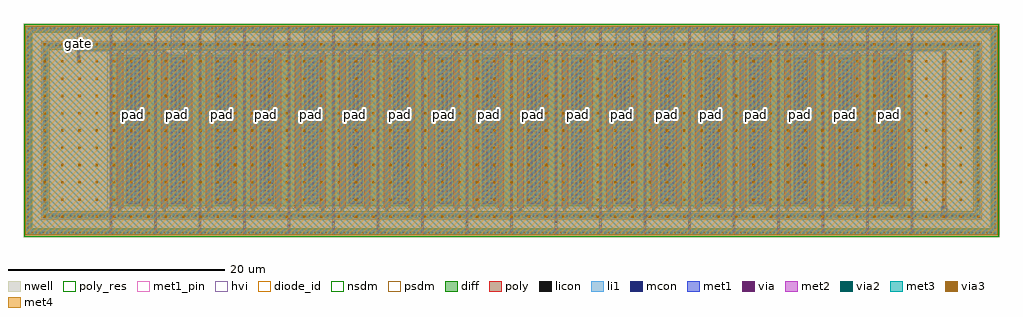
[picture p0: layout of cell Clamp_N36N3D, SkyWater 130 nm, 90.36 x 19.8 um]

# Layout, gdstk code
import gdstk
lib = gdstk.Library(unit=1e-6, precision=1e-09)
def R(c, l, rs):  # rectangles x0, y0, x1, y1
    for r in rs: c.add(gdstk.rectangle(r[:2], r[2:], *l))
def A(c, l, x, y, w, h, nx, ny, dx, dy):  # array of equal rectangles
    R(c, l, [(x+i*dx, y+j*dy, x+i*dx+w, y+j*dy+h) for i in range(nx) for j in range(ny)])
def P(c, l, *ps):  # polygons
    for p in ps: c.add(gdstk.Polygon(p, *l))
nwell = (64, 20)
diff = (65, 20)
poly_res = (66, 13)
poly = (66, 20)
licon = (66, 44)
li1 = (67, 20)
mcon = (67, 44)
met1_pin = (68, 16)
met1 = (68, 20)
via = (68, 44)
met2 = (69, 20)
via2 = (69, 44)
met3 = (70, 20)
via3 = (70, 44)
met4 = (71, 20)
hvi = (75, 20)
diode_id = (81, 23)
nsdm = (93, 44)
psdm = (94, 20)

guardring_n18000w3888hff = lib.new_cell('GuardRing_N18000W3888HFF')
P(guardring_n18000w3888hff, nwell, [(-45.18,-9.9),(-45.18,9.06),(-44.34,9.06),(-44.34,-9.06),(44.34,-9.06),(44.34,9.06),(-45.18,9.06),(-45.18,9.9),(45.18,9.9),(45.18,-9.9)])
P(guardring_n18000w3888hff, diff, [(-45,-9.72),(-45,9.24),(-44.52,9.24),(-44.52,-9.24),(44.52,-9.24),(44.52,9.24),(-45,9.24),(-45,9.72),(45,9.72),(45,-9.72)])
A(guardring_n18000w3888hff, licon, -44.795, -9.565, 0.17, 0.17, 264, 2, 0.34, 18.96)
A(guardring_n18000w3888hff, licon, -44.845, -9.095, 0.17, 0.17, 1, 54, 0, 0.34)
A(guardring_n18000w3888hff, licon, 44.675, -9.095, 0.17, 0.17, 1, 54, 0, 0.34)
P(guardring_n18000w3888hff, li1, [(-45,-9.72),(-45,9.24),(-44.52,9.24),(-44.52,-9.24),(44.52,-9.24),(44.52,9.24),(-45,9.24),(-45,9.72),(45,9.72),(45,-9.72)])
P(guardring_n18000w3888hff, nsdm, [(-45.125,-9.845),(-45.125,9.115),(-44.395,9.115),(-44.395,-9.115),(44.395,-9.115),(44.395,9.115),(-45.125,9.115),(-45.125,9.845),(45.125,9.845),(45.125,-9.845)])

guardring_p17368w3256hft = lib.new_cell('GuardRing_P17368W3256HFT')
P(guardring_p17368w3256hft, diff, [(-43.42,-8.14),(-43.42,7.66),(-42.94,7.66),(-42.94,-7.66),(42.94,-7.66),(42.94,7.66),(-43.42,7.66),(-43.42,8.14),(43.42,8.14),(43.42,-8.14)])
A(guardring_p17368w3256hft, licon, -43.265, -7.985, 0.17, 0.17, 255, 2, 0.34, 15.8)
A(guardring_p17368w3256hft, licon, -43.265, -7.395, 0.17, 0.17, 1, 44, 0, 0.34)
A(guardring_p17368w3256hft, licon, 43.095, -7.395, 0.17, 0.17, 1, 44, 0, 0.34)
P(guardring_p17368w3256hft, li1, [(-43.42,-8.14),(-43.42,7.66),(-42.94,7.66),(-42.94,-7.66),(42.94,-7.66),(42.94,7.66),(-43.42,7.66),(-43.42,8.14),(43.42,8.14),(43.42,-8.14)])
R(guardring_p17368w3256hft, nsdm, [(-42.815,-7.535,42.815,7.535)])
P(guardring_p17368w3256hft, psdm, [(-43.545,-8.265),(-43.545,7.535),(-42.815,7.535),(-42.815,-7.535),(42.815,-7.535),(42.815,7.535),(-43.545,7.535),(-43.545,8.265),(43.545,8.265),(43.545,-8.265)])

iotracksegment_3888h = lib.new_cell('IOTrackSegment_3888H')
R(iotracksegment_3888h, met2, [(-45,-9.72,45,9.72)])
A(iotracksegment_3888h, via2, -43.3, -8.1, 0.2, 0.2, 55, 11, 1.6, 1.6)
R(iotracksegment_3888h, met3, [(-45,-9.72,45,9.72)])
A(iotracksegment_3888h, via3, -43.3, -8.1, 0.2, 0.2, 55, 11, 1.6, 1.6)
R(iotracksegment_3888h, met4, [(-45,-9.72,45,9.72)])

clamp_n36n3d = lib.new_cell('Clamp_N36N3D')
R(clamp_n36n3d, diff, [(7.795,2.72,82.205,16.72), (4.805,15.97,5.055,16.72)])
R(clamp_n36n3d, poly_res, [(84.9,2.72,85.24,16.72)])
R(clamp_n36n3d, poly, [(84.905,2.425,85.235,17.015)])
P(clamp_n36n3d, poly, [(8.61,2.23),(8.61,2.56),(8.445,2.56),(8.445,16.88),(8.61,16.88),(8.61,17.21),(8.88,17.21),(8.88,16.88),(9.045,16.88),(9.045,2.56),(8.88,2.56),(8.88,2.23)],
  [(10.91,2.23),(10.91,2.56),(10.745,2.56),(10.745,16.88),(10.91,16.88),(10.91,17.21),(11.18,17.21),(11.18,16.88),(11.345,16.88),(11.345,2.56),(11.18,2.56),(11.18,2.23)],
  [(12.73,2.23),(12.73,2.56),(12.565,2.56),(12.565,16.88),(12.73,16.88),(12.73,17.21),(13,17.21),(13,16.88),(13.165,16.88),(13.165,2.56),(13,2.56),(13,2.23)],
  [(15.03,2.23),(15.03,2.56),(14.865,2.56),(14.865,16.88),(15.03,16.88),(15.03,17.21),(15.3,17.21),(15.3,16.88),(15.465,16.88),(15.465,2.56),(15.3,2.56),(15.3,2.23)],
  [(16.85,2.23),(16.85,2.56),(16.685,2.56),(16.685,16.88),(16.85,16.88),(16.85,17.21),(17.12,17.21),(17.12,16.88),(17.285,16.88),(17.285,2.56),(17.12,2.56),(17.12,2.23)],
  [(19.15,2.23),(19.15,2.56),(18.985,2.56),(18.985,16.88),(19.15,16.88),(19.15,17.21),(19.42,17.21),(19.42,16.88),(19.585,16.88),(19.585,2.56),(19.42,2.56),(19.42,2.23)],
  [(20.97,2.23),(20.97,2.56),(20.805,2.56),(20.805,16.88),(20.97,16.88),(20.97,17.21),(21.24,17.21),(21.24,16.88),(21.405,16.88),(21.405,2.56),(21.24,2.56),(21.24,2.23)],
  [(23.27,2.23),(23.27,2.56),(23.105,2.56),(23.105,16.88),(23.27,16.88),(23.27,17.21),(23.54,17.21),(23.54,16.88),(23.705,16.88),(23.705,2.56),(23.54,2.56),(23.54,2.23)],
  [(25.09,2.23),(25.09,2.56),(24.925,2.56),(24.925,16.88),(25.09,16.88),(25.09,17.21),(25.36,17.21),(25.36,16.88),(25.525,16.88),(25.525,2.56),(25.36,2.56),(25.36,2.23)],
  [(27.39,2.23),(27.39,2.56),(27.225,2.56),(27.225,16.88),(27.39,16.88),(27.39,17.21),(27.66,17.21),(27.66,16.88),(27.825,16.88),(27.825,2.56),(27.66,2.56),(27.66,2.23)],
  [(29.21,2.23),(29.21,2.56),(29.045,2.56),(29.045,16.88),(29.21,16.88),(29.21,17.21),(29.48,17.21),(29.48,16.88),(29.645,16.88),(29.645,2.56),(29.48,2.56),(29.48,2.23)],
  [(31.51,2.23),(31.51,2.56),(31.345,2.56),(31.345,16.88),(31.51,16.88),(31.51,17.21),(31.78,17.21),(31.78,16.88),(31.945,16.88),(31.945,2.56),(31.78,2.56),(31.78,2.23)],
  [(33.33,2.23),(33.33,2.56),(33.165,2.56),(33.165,16.88),(33.33,16.88),(33.33,17.21),(33.6,17.21),(33.6,16.88),(33.765,16.88),(33.765,2.56),(33.6,2.56),(33.6,2.23)],
  [(35.63,2.23),(35.63,2.56),(35.465,2.56),(35.465,16.88),(35.63,16.88),(35.63,17.21),(35.9,17.21),(35.9,16.88),(36.065,16.88),(36.065,2.56),(35.9,2.56),(35.9,2.23)],
  [(37.45,2.23),(37.45,2.56),(37.285,2.56),(37.285,16.88),(37.45,16.88),(37.45,17.21),(37.72,17.21),(37.72,16.88),(37.885,16.88),(37.885,2.56),(37.72,2.56),(37.72,2.23)],
  [(39.75,2.23),(39.75,2.56),(39.585,2.56),(39.585,16.88),(39.75,16.88),(39.75,17.21),(40.02,17.21),(40.02,16.88),(40.185,16.88),(40.185,2.56),(40.02,2.56),(40.02,2.23)],
  [(41.57,2.23),(41.57,2.56),(41.405,2.56),(41.405,16.88),(41.57,16.88),(41.57,17.21),(41.84,17.21),(41.84,16.88),(42.005,16.88),(42.005,2.56),(41.84,2.56),(41.84,2.23)],
  [(43.87,2.23),(43.87,2.56),(43.705,2.56),(43.705,16.88),(43.87,16.88),(43.87,17.21),(44.14,17.21),(44.14,16.88),(44.305,16.88),(44.305,2.56),(44.14,2.56),(44.14,2.23)],
  [(45.69,2.23),(45.69,2.56),(45.525,2.56),(45.525,16.88),(45.69,16.88),(45.69,17.21),(45.96,17.21),(45.96,16.88),(46.125,16.88),(46.125,2.56),(45.96,2.56),(45.96,2.23)],
  [(47.99,2.23),(47.99,2.56),(47.825,2.56),(47.825,16.88),(47.99,16.88),(47.99,17.21),(48.26,17.21),(48.26,16.88),(48.425,16.88),(48.425,2.56),(48.26,2.56),(48.26,2.23)],
  [(49.81,2.23),(49.81,2.56),(49.645,2.56),(49.645,16.88),(49.81,16.88),(49.81,17.21),(50.08,17.21),(50.08,16.88),(50.245,16.88),(50.245,2.56),(50.08,2.56),(50.08,2.23)],
  [(52.11,2.23),(52.11,2.56),(51.945,2.56),(51.945,16.88),(52.11,16.88),(52.11,17.21),(52.38,17.21),(52.38,16.88),(52.545,16.88),(52.545,2.56),(52.38,2.56),(52.38,2.23)],
  [(53.93,2.23),(53.93,2.56),(53.765,2.56),(53.765,16.88),(53.93,16.88),(53.93,17.21),(54.2,17.21),(54.2,16.88),(54.365,16.88),(54.365,2.56),(54.2,2.56),(54.2,2.23)],
  [(56.23,2.23),(56.23,2.56),(56.065,2.56),(56.065,16.88),(56.23,16.88),(56.23,17.21),(56.5,17.21),(56.5,16.88),(56.665,16.88),(56.665,2.56),(56.5,2.56),(56.5,2.23)],
  [(58.05,2.23),(58.05,2.56),(57.885,2.56),(57.885,16.88),(58.05,16.88),(58.05,17.21),(58.32,17.21),(58.32,16.88),(58.485,16.88),(58.485,2.56),(58.32,2.56),(58.32,2.23)],
  [(60.35,2.23),(60.35,2.56),(60.185,2.56),(60.185,16.88),(60.35,16.88),(60.35,17.21),(60.62,17.21),(60.62,16.88),(60.785,16.88),(60.785,2.56),(60.62,2.56),(60.62,2.23)],
  [(62.17,2.23),(62.17,2.56),(62.005,2.56),(62.005,16.88),(62.17,16.88),(62.17,17.21),(62.44,17.21),(62.44,16.88),(62.605,16.88),(62.605,2.56),(62.44,2.56),(62.44,2.23)],
  [(64.47,2.23),(64.47,2.56),(64.305,2.56),(64.305,16.88),(64.47,16.88),(64.47,17.21),(64.74,17.21),(64.74,16.88),(64.905,16.88),(64.905,2.56),(64.74,2.56),(64.74,2.23)],
  [(66.29,2.23),(66.29,2.56),(66.125,2.56),(66.125,16.88),(66.29,16.88),(66.29,17.21),(66.56,17.21),(66.56,16.88),(66.725,16.88),(66.725,2.56),(66.56,2.56),(66.56,2.23)],
  [(68.59,2.23),(68.59,2.56),(68.425,2.56),(68.425,16.88),(68.59,16.88),(68.59,17.21),(68.86,17.21),(68.86,16.88),(69.025,16.88),(69.025,2.56),(68.86,2.56),(68.86,2.23)],
  [(70.41,2.23),(70.41,2.56),(70.245,2.56),(70.245,16.88),(70.41,16.88),(70.41,17.21),(70.68,17.21),(70.68,16.88),(70.845,16.88),(70.845,2.56),(70.68,2.56),(70.68,2.23)],
  [(72.71,2.23),(72.71,2.56),(72.545,2.56),(72.545,16.88),(72.71,16.88),(72.71,17.21),(72.98,17.21),(72.98,16.88),(73.145,16.88),(73.145,2.56),(72.98,2.56),(72.98,2.23)],
  [(74.53,2.23),(74.53,2.56),(74.365,2.56),(74.365,16.88),(74.53,16.88),(74.53,17.21),(74.8,17.21),(74.8,16.88),(74.965,16.88),(74.965,2.56),(74.8,2.56),(74.8,2.23)],
  [(76.83,2.23),(76.83,2.56),(76.665,2.56),(76.665,16.88),(76.83,16.88),(76.83,17.21),(77.1,17.21),(77.1,16.88),(77.265,16.88),(77.265,2.56),(77.1,2.56),(77.1,2.23)],
  [(78.65,2.23),(78.65,2.56),(78.485,2.56),(78.485,16.88),(78.65,16.88),(78.65,17.21),(78.92,17.21),(78.92,16.88),(79.085,16.88),(79.085,2.56),(78.92,2.56),(78.92,2.23)],
  [(80.95,2.23),(80.95,2.56),(80.785,2.56),(80.785,16.88),(80.95,16.88),(80.95,17.21),(81.22,17.21),(81.22,16.88),(81.385,16.88),(81.385,2.56),(81.22,2.56),(81.22,2.23)])
A(clamp_n36n3d, licon, 7.835, 3.005, 0.17, 0.17, 1, 40, 0, 0.34)
A(clamp_n36n3d, licon, 9.725, 3.005, 0.17, 0.17, 1, 40, 0, 0.34)
A(clamp_n36n3d, licon, 10.065, 3.005, 0.17, 0.17, 3, 40, 1.89, 0.34)
A(clamp_n36n3d, licon, 14.185, 3.005, 0.17, 0.17, 3, 40, 1.89, 0.34)
A(clamp_n36n3d, licon, 18.305, 3.005, 0.17, 0.17, 3, 40, 1.89, 0.34)
A(clamp_n36n3d, licon, 22.425, 3.005, 0.17, 0.17, 3, 40, 1.89, 0.34)
A(clamp_n36n3d, licon, 26.545, 3.005, 0.17, 0.17, 3, 40, 1.89, 0.34)
A(clamp_n36n3d, licon, 30.665, 3.005, 0.17, 0.17, 3, 40, 1.89, 0.34)
A(clamp_n36n3d, licon, 34.785, 3.005, 0.17, 0.17, 3, 40, 1.89, 0.34)
A(clamp_n36n3d, licon, 38.905, 3.005, 0.17, 0.17, 3, 40, 1.89, 0.34)
A(clamp_n36n3d, licon, 43.025, 3.005, 0.17, 0.17, 3, 40, 1.89, 0.34)
A(clamp_n36n3d, licon, 47.145, 3.005, 0.17, 0.17, 3, 40, 1.89, 0.34)
A(clamp_n36n3d, licon, 51.265, 3.005, 0.17, 0.17, 3, 40, 1.89, 0.34)
A(clamp_n36n3d, licon, 55.385, 3.005, 0.17, 0.17, 3, 40, 1.89, 0.34)
A(clamp_n36n3d, licon, 59.505, 3.005, 0.17, 0.17, 3, 40, 1.89, 0.34)
A(clamp_n36n3d, licon, 63.625, 3.005, 0.17, 0.17, 3, 40, 1.89, 0.34)
A(clamp_n36n3d, licon, 67.745, 3.005, 0.17, 0.17, 3, 40, 1.89, 0.34)
A(clamp_n36n3d, licon, 71.865, 3.005, 0.17, 0.17, 3, 40, 1.89, 0.34)
A(clamp_n36n3d, licon, 75.985, 3.005, 0.17, 0.17, 3, 40, 1.89, 0.34)
A(clamp_n36n3d, licon, 80.105, 3.005, 0.17, 0.17, 1, 40, 0, 0.34)
A(clamp_n36n3d, licon, 81.995, 3.005, 0.17, 0.17, 1, 40, 0, 0.34)
R(clamp_n36n3d, licon, [(8.66,2.31,8.83,2.48), (10.96,2.31,11.13,2.48), (12.78,2.31,12.95,2.48), (15.08,2.31,15.25,2.48), (16.9,2.31,17.07,2.48), (19.2,2.31,19.37,2.48), (21.02,2.31,21.19,2.48), (23.32,2.31,23.49,2.48), (25.14,2.31,25.31,2.48), (27.44,2.31,27.61,2.48), (29.26,2.31,29.43,2.48), (31.56,2.31,31.73,2.48), (33.38,2.31,33.55,2.48), (35.68,2.31,35.85,2.48), (37.5,2.31,37.67,2.48), (39.8,2.31,39.97,2.48), (41.62,2.31,41.79,2.48), (43.92,2.31,44.09,2.48), (45.74,2.31,45.91,2.48), (48.04,2.31,48.21,2.48), (49.86,2.31,50.03,2.48), (52.16,2.31,52.33,2.48), (53.98,2.31,54.15,2.48), (56.28,2.31,56.45,2.48), (58.1,2.31,58.27,2.48), (60.4,2.31,60.57,2.48), (62.22,2.31,62.39,2.48), (64.52,2.31,64.69,2.48), (66.34,2.31,66.51,2.48), (68.64,2.31,68.81,2.48), (70.46,2.31,70.63,2.48), (72.76,2.31,72.93,2.48), (74.58,2.31,74.75,2.48), (76.88,2.31,77.05,2.48), (78.7,2.31,78.87,2.48), (81,2.31,81.17,2.48), (84.985,2.505,85.155,2.675), (4.845,16.09,5.015,16.26), (4.845,16.43,5.015,16.6), (84.985,16.765,85.155,16.935), (8.66,16.96,8.83,17.13), (10.96,16.96,11.13,17.13), (12.78,16.96,12.95,17.13), (15.08,16.96,15.25,17.13), (16.9,16.96,17.07,17.13), (19.2,16.96,19.37,17.13), (21.02,16.96,21.19,17.13), (23.32,16.96,23.49,17.13), (25.14,16.96,25.31,17.13), (27.44,16.96,27.61,17.13), (29.26,16.96,29.43,17.13), (31.56,16.96,31.73,17.13), (33.38,16.96,33.55,17.13), (35.68,16.96,35.85,17.13), (37.5,16.96,37.67,17.13), (39.8,16.96,39.97,17.13), (41.62,16.96,41.79,17.13), (43.92,16.96,44.09,17.13), (45.74,16.96,45.91,17.13), (48.04,16.96,48.21,17.13), (49.86,16.96,50.03,17.13), (52.16,16.96,52.33,17.13), (53.98,16.96,54.15,17.13), (56.28,16.96,56.45,17.13), (58.1,16.96,58.27,17.13), (60.4,16.96,60.57,17.13), (62.22,16.96,62.39,17.13), (64.52,16.96,64.69,17.13), (66.34,16.96,66.51,17.13), (68.64,16.96,68.81,17.13), (70.46,16.96,70.63,17.13), (72.76,16.96,72.93,17.13), (74.58,16.96,74.75,17.13), (76.88,16.96,77.05,17.13), (78.7,16.96,78.87,17.13), (81,16.96,81.17,17.13)])
A(clamp_n36n3d, li1, 7.835, 1.735, 0.17, 0.17, 19, 2, 4.12, 15.8)
A(clamp_n36n3d, li1, 7.835, 2.925, 0.17, 13.59, 19, 1, 4.12, 0)
R(clamp_n36n3d, li1, [(84.805,1.735,85.335,1.905)])
P(clamp_n36n3d, li1, [(84.985,2.425),(84.985,2.505),(84.805,2.505),(84.805,2.675),(84.985,2.675),(84.985,2.755),(85.155,2.755),(85.155,2.675),(85.335,2.675),(85.335,2.505),(85.155,2.505),(85.155,2.425)],
  [(9.725,2.925),(9.725,2.975),(9.355,2.975),(9.355,16.465),(9.725,16.465),(9.725,16.515),(10.235,16.515),(10.235,16.465),(10.605,16.465),(10.605,2.975),(10.235,2.975),(10.235,2.925)],
  [(13.845,2.925),(13.845,2.975),(13.475,2.975),(13.475,16.465),(13.845,16.465),(13.845,16.515),(14.355,16.515),(14.355,16.465),(14.725,16.465),(14.725,2.975),(14.355,2.975),(14.355,2.925)],
  [(17.965,2.925),(17.965,2.975),(17.595,2.975),(17.595,16.465),(17.965,16.465),(17.965,16.515),(18.475,16.515),(18.475,16.465),(18.845,16.465),(18.845,2.975),(18.475,2.975),(18.475,2.925)],
  [(22.085,2.925),(22.085,2.975),(21.715,2.975),(21.715,16.465),(22.085,16.465),(22.085,16.515),(22.595,16.515),(22.595,16.465),(22.965,16.465),(22.965,2.975),(22.595,2.975),(22.595,2.925)],
  [(26.205,2.925),(26.205,2.975),(25.835,2.975),(25.835,16.465),(26.205,16.465),(26.205,16.515),(26.715,16.515),(26.715,16.465),(27.085,16.465),(27.085,2.975),(26.715,2.975),(26.715,2.925)],
  [(30.325,2.925),(30.325,2.975),(29.955,2.975),(29.955,16.465),(30.325,16.465),(30.325,16.515),(30.835,16.515),(30.835,16.465),(31.205,16.465),(31.205,2.975),(30.835,2.975),(30.835,2.925)],
  [(34.445,2.925),(34.445,2.975),(34.075,2.975),(34.075,16.465),(34.445,16.465),(34.445,16.515),(34.955,16.515),(34.955,16.465),(35.325,16.465),(35.325,2.975),(34.955,2.975),(34.955,2.925)],
  [(38.565,2.925),(38.565,2.975),(38.195,2.975),(38.195,16.465),(38.565,16.465),(38.565,16.515),(39.075,16.515),(39.075,16.465),(39.445,16.465),(39.445,2.975),(39.075,2.975),(39.075,2.925)],
  [(42.685,2.925),(42.685,2.975),(42.315,2.975),(42.315,16.465),(42.685,16.465),(42.685,16.515),(43.195,16.515),(43.195,16.465),(43.565,16.465),(43.565,2.975),(43.195,2.975),(43.195,2.925)],
  [(46.805,2.925),(46.805,2.975),(46.435,2.975),(46.435,16.465),(46.805,16.465),(46.805,16.515),(47.315,16.515),(47.315,16.465),(47.685,16.465),(47.685,2.975),(47.315,2.975),(47.315,2.925)],
  [(50.925,2.925),(50.925,2.975),(50.555,2.975),(50.555,16.465),(50.925,16.465),(50.925,16.515),(51.435,16.515),(51.435,16.465),(51.805,16.465),(51.805,2.975),(51.435,2.975),(51.435,2.925)],
  [(55.045,2.925),(55.045,2.975),(54.675,2.975),(54.675,16.465),(55.045,16.465),(55.045,16.515),(55.555,16.515),(55.555,16.465),(55.925,16.465),(55.925,2.975),(55.555,2.975),(55.555,2.925)],
  [(59.165,2.925),(59.165,2.975),(58.795,2.975),(58.795,16.465),(59.165,16.465),(59.165,16.515),(59.675,16.515),(59.675,16.465),(60.045,16.465),(60.045,2.975),(59.675,2.975),(59.675,2.925)],
  [(63.285,2.925),(63.285,2.975),(62.915,2.975),(62.915,16.465),(63.285,16.465),(63.285,16.515),(63.795,16.515),(63.795,16.465),(64.165,16.465),(64.165,2.975),(63.795,2.975),(63.795,2.925)],
  [(67.405,2.925),(67.405,2.975),(67.035,2.975),(67.035,16.465),(67.405,16.465),(67.405,16.515),(67.915,16.515),(67.915,16.465),(68.285,16.465),(68.285,2.975),(67.915,2.975),(67.915,2.925)],
  [(71.525,2.925),(71.525,2.975),(71.155,2.975),(71.155,16.465),(71.525,16.465),(71.525,16.515),(72.035,16.515),(72.035,16.465),(72.405,16.465),(72.405,2.975),(72.035,2.975),(72.035,2.925)],
  [(75.645,2.925),(75.645,2.975),(75.275,2.975),(75.275,16.465),(75.645,16.465),(75.645,16.515),(76.155,16.515),(76.155,16.465),(76.525,16.465),(76.525,2.975),(76.155,2.975),(76.155,2.925)],
  [(79.765,2.925),(79.765,2.975),(79.395,2.975),(79.395,16.465),(79.765,16.465),(79.765,16.515),(80.275,16.515),(80.275,16.465),(80.645,16.465),(80.645,2.975),(80.275,2.975),(80.275,2.925)],
  [(8.66,2.23),(8.66,17.04),(5.015,17.04),(5.015,16.01),(4.845,16.01),(4.845,17.21),(12.95,17.21),(12.95,2.23),(12.78,2.23),(12.78,17.04),(11.13,17.04),(11.13,2.23),(10.96,2.23),(10.96,17.04),(8.83,17.04),(8.83,2.23)],
  [(15.08,2.23),(15.08,17.21),(85.155,17.21),(85.155,16.685),(84.985,16.685),(84.985,17.04),(81.17,17.04),(81.17,2.23),(81,2.23),(81,17.04),(78.87,17.04),(78.87,2.23),(78.7,2.23),(78.7,17.04),(77.05,17.04),(77.05,2.23),(76.88,2.23),(76.88,17.04),(74.75,17.04),(74.75,2.23),(74.58,2.23),(74.58,17.04),(72.93,17.04),(72.93,2.23),(72.76,2.23),(72.76,17.04),(70.63,17.04),(70.63,2.23),(70.46,2.23),(70.46,17.04),(68.81,17.04),(68.81,2.23),(68.64,2.23),(68.64,17.04),(66.51,17.04),(66.51,2.23),(66.34,2.23),(66.34,17.04),(64.69,17.04),(64.69,2.23),(64.52,2.23),(64.52,17.04),(62.39,17.04),(62.39,2.23),(62.22,2.23),(62.22,17.04),(60.57,17.04),(60.57,2.23),(60.4,2.23),(60.4,17.04),(58.27,17.04),(58.27,2.23),(58.1,2.23),(58.1,17.04),(56.45,17.04),(56.45,2.23),(56.28,2.23),(56.28,17.04),(54.15,17.04),(54.15,2.23),(53.98,2.23),(53.98,17.04),(52.33,17.04),(52.33,2.23),(52.16,2.23),(52.16,17.04),(50.03,17.04),(50.03,2.23),(49.86,2.23),(49.86,17.04),(48.21,17.04),(48.21,2.23),(48.04,2.23),(48.04,17.04),(45.91,17.04),(45.91,2.23),(45.74,2.23),(45.74,17.04),(44.09,17.04),(44.09,2.23),(43.92,2.23),(43.92,17.04),(41.79,17.04),(41.79,2.23),(41.62,2.23),(41.62,17.04),(39.97,17.04),(39.97,2.23),(39.8,2.23),(39.8,17.04),(37.67,17.04),(37.67,2.23),(37.5,2.23),(37.5,17.04),(35.85,17.04),(35.85,2.23),(35.68,2.23),(35.68,17.04),(33.55,17.04),(33.55,2.23),(33.38,2.23),(33.38,17.04),(31.73,17.04),(31.73,2.23),(31.56,2.23),(31.56,17.04),(29.43,17.04),(29.43,2.23),(29.26,2.23),(29.26,17.04),(27.61,17.04),(27.61,2.23),(27.44,2.23),(27.44,17.04),(25.31,17.04),(25.31,2.23),(25.14,2.23),(25.14,17.04),(23.49,17.04),(23.49,2.23),(23.32,2.23),(23.32,17.04),(21.19,17.04),(21.19,2.23),(21.02,2.23),(21.02,17.04),(19.37,17.04),(19.37,2.23),(19.2,2.23),(19.2,17.04),(17.07,17.04),(17.07,2.23),(16.9,2.23),(16.9,17.04),(15.25,17.04),(15.25,2.23)])
A(clamp_n36n3d, mcon, 7.835, 1.735, 0.17, 0.17, 19, 2, 4.12, 15.8)
A(clamp_n36n3d, mcon, 7.835, 2.975, 0.17, 0.17, 1, 38, 0, 0.36)
A(clamp_n36n3d, mcon, 9.355, 2.975, 0.17, 0.17, 4, 38, 0.36, 0.36)
A(clamp_n36n3d, mcon, 11.955, 2.975, 0.17, 0.17, 1, 38, 0, 0.36)
A(clamp_n36n3d, mcon, 13.475, 2.975, 0.17, 0.17, 4, 38, 0.36, 0.36)
A(clamp_n36n3d, mcon, 16.075, 2.975, 0.17, 0.17, 1, 38, 0, 0.36)
A(clamp_n36n3d, mcon, 17.595, 2.975, 0.17, 0.17, 4, 38, 0.36, 0.36)
A(clamp_n36n3d, mcon, 20.195, 2.975, 0.17, 0.17, 1, 38, 0, 0.36)
A(clamp_n36n3d, mcon, 21.715, 2.975, 0.17, 0.17, 4, 38, 0.36, 0.36)
A(clamp_n36n3d, mcon, 24.315, 2.975, 0.17, 0.17, 1, 38, 0, 0.36)
A(clamp_n36n3d, mcon, 25.835, 2.975, 0.17, 0.17, 4, 38, 0.36, 0.36)
A(clamp_n36n3d, mcon, 28.435, 2.975, 0.17, 0.17, 1, 38, 0, 0.36)
A(clamp_n36n3d, mcon, 29.955, 2.975, 0.17, 0.17, 4, 38, 0.36, 0.36)
A(clamp_n36n3d, mcon, 32.555, 2.975, 0.17, 0.17, 1, 38, 0, 0.36)
A(clamp_n36n3d, mcon, 34.075, 2.975, 0.17, 0.17, 4, 38, 0.36, 0.36)
A(clamp_n36n3d, mcon, 36.675, 2.975, 0.17, 0.17, 1, 38, 0, 0.36)
A(clamp_n36n3d, mcon, 38.195, 2.975, 0.17, 0.17, 4, 38, 0.36, 0.36)
A(clamp_n36n3d, mcon, 40.795, 2.975, 0.17, 0.17, 1, 38, 0, 0.36)
A(clamp_n36n3d, mcon, 42.315, 2.975, 0.17, 0.17, 4, 38, 0.36, 0.36)
A(clamp_n36n3d, mcon, 44.915, 2.975, 0.17, 0.17, 1, 38, 0, 0.36)
A(clamp_n36n3d, mcon, 46.435, 2.975, 0.17, 0.17, 4, 38, 0.36, 0.36)
A(clamp_n36n3d, mcon, 49.035, 2.975, 0.17, 0.17, 1, 38, 0, 0.36)
A(clamp_n36n3d, mcon, 50.555, 2.975, 0.17, 0.17, 4, 38, 0.36, 0.36)
A(clamp_n36n3d, mcon, 53.155, 2.975, 0.17, 0.17, 1, 38, 0, 0.36)
A(clamp_n36n3d, mcon, 54.675, 2.975, 0.17, 0.17, 4, 38, 0.36, 0.36)
A(clamp_n36n3d, mcon, 57.275, 2.975, 0.17, 0.17, 1, 38, 0, 0.36)
A(clamp_n36n3d, mcon, 58.795, 2.975, 0.17, 0.17, 4, 38, 0.36, 0.36)
A(clamp_n36n3d, mcon, 61.395, 2.975, 0.17, 0.17, 1, 38, 0, 0.36)
A(clamp_n36n3d, mcon, 62.915, 2.975, 0.17, 0.17, 4, 38, 0.36, 0.36)
A(clamp_n36n3d, mcon, 65.515, 2.975, 0.17, 0.17, 1, 38, 0, 0.36)
A(clamp_n36n3d, mcon, 67.035, 2.975, 0.17, 0.17, 4, 38, 0.36, 0.36)
A(clamp_n36n3d, mcon, 69.635, 2.975, 0.17, 0.17, 1, 38, 0, 0.36)
A(clamp_n36n3d, mcon, 71.155, 2.975, 0.17, 0.17, 4, 38, 0.36, 0.36)
A(clamp_n36n3d, mcon, 73.755, 2.975, 0.17, 0.17, 1, 38, 0, 0.36)
A(clamp_n36n3d, mcon, 75.275, 2.975, 0.17, 0.17, 4, 38, 0.36, 0.36)
A(clamp_n36n3d, mcon, 77.875, 2.975, 0.17, 0.17, 1, 38, 0, 0.36)
A(clamp_n36n3d, mcon, 79.395, 2.975, 0.17, 0.17, 4, 38, 0.36, 0.36)
A(clamp_n36n3d, mcon, 81.995, 2.975, 0.17, 0.17, 1, 38, 0, 0.36)
A(clamp_n36n3d, mcon, 4.845, 16.165, 0.17, 0.17, 1, 3, 0, 0.36)
R(clamp_n36n3d, mcon, [(84.805,1.735,84.975,1.905), (85.165,1.735,85.335,1.905), (84.805,2.505,84.975,2.675), (85.165,2.505,85.335,2.675)])
A(clamp_n36n3d, met1_pin, 9.325, 2.915, 1.31, 16.525, 18, 1, 4.12, 0)
R(clamp_n36n3d, met1_pin, [(4.815,16.105,5.045,19.44)])
A(clamp_n36n3d, met1, 9.325, 2.915, 1.31, 16.525, 18, 1, 4.12, 0)
R(clamp_n36n3d, met1, [(84.775,1.675,85.365,2.735), (4.815,16.105,5.045,19.44)])
P(clamp_n36n3d, met1, [(7.805,0),(7.805,0.12),(7.79,0.12),(7.79,19.32),(7.805,19.32),(7.805,19.44),(8.035,19.44),(8.035,19.32),(8.05,19.32),(8.05,0.12),(8.035,0.12),(8.035,0)],
  [(11.925,0),(11.925,0.12),(11.91,0.12),(11.91,19.32),(11.925,19.32),(11.925,19.44),(12.155,19.44),(12.155,19.32),(12.17,19.32),(12.17,0.12),(12.155,0.12),(12.155,0)],
  [(16.045,0),(16.045,0.12),(16.03,0.12),(16.03,19.32),(16.045,19.32),(16.045,19.44),(16.275,19.44),(16.275,19.32),(16.29,19.32),(16.29,0.12),(16.275,0.12),(16.275,0)],
  [(20.165,0),(20.165,0.12),(20.15,0.12),(20.15,19.32),(20.165,19.32),(20.165,19.44),(20.395,19.44),(20.395,19.32),(20.41,19.32),(20.41,0.12),(20.395,0.12),(20.395,0)],
  [(24.285,0),(24.285,0.12),(24.27,0.12),(24.27,19.32),(24.285,19.32),(24.285,19.44),(24.515,19.44),(24.515,19.32),(24.53,19.32),(24.53,0.12),(24.515,0.12),(24.515,0)],
  [(28.405,0),(28.405,0.12),(28.39,0.12),(28.39,19.32),(28.405,19.32),(28.405,19.44),(28.635,19.44),(28.635,19.32),(28.65,19.32),(28.65,0.12),(28.635,0.12),(28.635,0)],
  [(32.525,0),(32.525,0.12),(32.51,0.12),(32.51,19.32),(32.525,19.32),(32.525,19.44),(32.755,19.44),(32.755,19.32),(32.77,19.32),(32.77,0.12),(32.755,0.12),(32.755,0)],
  [(36.645,0),(36.645,0.12),(36.63,0.12),(36.63,19.32),(36.645,19.32),(36.645,19.44),(36.875,19.44),(36.875,19.32),(36.89,19.32),(36.89,0.12),(36.875,0.12),(36.875,0)],
  [(40.765,0),(40.765,0.12),(40.75,0.12),(40.75,19.32),(40.765,19.32),(40.765,19.44),(40.995,19.44),(40.995,19.32),(41.01,19.32),(41.01,0.12),(40.995,0.12),(40.995,0)],
  [(44.885,0),(44.885,0.12),(44.87,0.12),(44.87,19.32),(44.885,19.32),(44.885,19.44),(45.115,19.44),(45.115,19.32),(45.13,19.32),(45.13,0.12),(45.115,0.12),(45.115,0)],
  [(49.005,0),(49.005,0.12),(48.99,0.12),(48.99,19.32),(49.005,19.32),(49.005,19.44),(49.235,19.44),(49.235,19.32),(49.25,19.32),(49.25,0.12),(49.235,0.12),(49.235,0)],
  [(53.125,0),(53.125,0.12),(53.11,0.12),(53.11,19.32),(53.125,19.32),(53.125,19.44),(53.355,19.44),(53.355,19.32),(53.37,19.32),(53.37,0.12),(53.355,0.12),(53.355,0)],
  [(57.245,0),(57.245,0.12),(57.23,0.12),(57.23,19.32),(57.245,19.32),(57.245,19.44),(57.475,19.44),(57.475,19.32),(57.49,19.32),(57.49,0.12),(57.475,0.12),(57.475,0)],
  [(61.365,0),(61.365,0.12),(61.35,0.12),(61.35,19.32),(61.365,19.32),(61.365,19.44),(61.595,19.44),(61.595,19.32),(61.61,19.32),(61.61,0.12),(61.595,0.12),(61.595,0)],
  [(65.485,0),(65.485,0.12),(65.47,0.12),(65.47,19.32),(65.485,19.32),(65.485,19.44),(65.715,19.44),(65.715,19.32),(65.73,19.32),(65.73,0.12),(65.715,0.12),(65.715,0)],
  [(69.605,0),(69.605,0.12),(69.59,0.12),(69.59,19.32),(69.605,19.32),(69.605,19.44),(69.835,19.44),(69.835,19.32),(69.85,19.32),(69.85,0.12),(69.835,0.12),(69.835,0)],
  [(73.725,0),(73.725,0.12),(73.71,0.12),(73.71,19.32),(73.725,19.32),(73.725,19.44),(73.955,19.44),(73.955,19.32),(73.97,19.32),(73.97,0.12),(73.955,0.12),(73.955,0)],
  [(77.845,0),(77.845,0.12),(77.83,0.12),(77.83,19.32),(77.845,19.32),(77.845,19.44),(78.075,19.44),(78.075,19.32),(78.09,19.32),(78.09,0.12),(78.075,0.12),(78.075,0)],
  [(81.965,0),(81.965,0.12),(81.95,0.12),(81.95,19.32),(81.965,19.32),(81.965,19.44),(82.195,19.44),(82.195,19.32),(82.21,19.32),(82.21,0.12),(82.195,0.12),(82.195,0)])
A(clamp_n36n3d, via, 7.845, 0.205, 0.15, 0.15, 19, 60, 4.12, 0.32)
A(clamp_n36n3d, met2, 7.79, 0.12, 0.26, 19.2, 19, 1, 4.12, 0)
R(clamp_n36n3d, hvi, [(7.595,2.52,82.405,16.92)])
R(clamp_n36n3d, diode_id, [(4.8,15.965,5.06,16.725)])
R(clamp_n36n3d, nsdm, [(7.67,2.595,82.33,16.845), (4.68,15.845,5.18,16.845)])
clamp_n36n3d.add(gdstk.Reference(guardring_n18000w3888hff, (45,9.72)))
clamp_n36n3d.add(gdstk.Reference(guardring_p17368w3256hft, (45,9.72)))
clamp_n36n3d.add(gdstk.Reference(iotracksegment_3888h, (45,9.72)))
clamp_n36n3d.add(gdstk.Reference(guardring_n18000w3888hff, (45,9.72)))
clamp_n36n3d.add(gdstk.Reference(guardring_p17368w3256hft, (45,9.72)))
clamp_n36n3d.add(gdstk.Reference(iotracksegment_3888h, (45,9.72)))
clamp_n36n3d.add(gdstk.Label('pad', (63.54,11.178), layer=68, texttype=16))
clamp_n36n3d.add(gdstk.Label('pad', (47.06,11.178), layer=68, texttype=16))
clamp_n36n3d.add(gdstk.Label('pad', (51.18,11.178), layer=68, texttype=16))
clamp_n36n3d.add(gdstk.Label('pad', (22.34,11.178), layer=68, texttype=16))
clamp_n36n3d.add(gdstk.Label('pad', (14.1,11.178), layer=68, texttype=16))
clamp_n36n3d.add(gdstk.Label('pad', (38.82,11.178), layer=68, texttype=16))
clamp_n36n3d.add(gdstk.Label('pad', (55.3,11.178), layer=68, texttype=16))
clamp_n36n3d.add(gdstk.Label('pad', (42.94,11.178), layer=68, texttype=16))
clamp_n36n3d.add(gdstk.Label('pad', (18.22,11.178), layer=68, texttype=16))
clamp_n36n3d.add(gdstk.Label('pad', (26.46,11.178), layer=68, texttype=16))
clamp_n36n3d.add(gdstk.Label('pad', (71.78,11.178), layer=68, texttype=16))
clamp_n36n3d.add(gdstk.Label('pad', (67.66,11.178), layer=68, texttype=16))
clamp_n36n3d.add(gdstk.Label('pad', (80.02,11.178), layer=68, texttype=16))
clamp_n36n3d.add(gdstk.Label('pad', (75.9,11.178), layer=68, texttype=16))
clamp_n36n3d.add(gdstk.Label('pad', (59.42,11.178), layer=68, texttype=16))
clamp_n36n3d.add(gdstk.Label('pad', (30.58,11.178), layer=68, texttype=16))
clamp_n36n3d.add(gdstk.Label('pad', (34.7,11.178), layer=68, texttype=16))
clamp_n36n3d.add(gdstk.Label('pad', (9.98,11.178), layer=68, texttype=16))
clamp_n36n3d.add(gdstk.Label('gate', (4.93,17.773), layer=68, texttype=16))
clamp_n36n3d.add(gdstk.Label('pad', (63.54,11.178), layer=68, texttype=16))
clamp_n36n3d.add(gdstk.Label('pad', (47.06,11.178), layer=68, texttype=16))
clamp_n36n3d.add(gdstk.Label('pad', (51.18,11.178), layer=68, texttype=16))
clamp_n36n3d.add(gdstk.Label('pad', (22.34,11.178), layer=68, texttype=16))
clamp_n36n3d.add(gdstk.Label('pad', (14.1,11.178), layer=68, texttype=16))
clamp_n36n3d.add(gdstk.Label('pad', (38.82,11.178), layer=68, texttype=16))
clamp_n36n3d.add(gdstk.Label('pad', (55.3,11.178), layer=68, texttype=16))
clamp_n36n3d.add(gdstk.Label('pad', (42.94,11.178), layer=68, texttype=16))
clamp_n36n3d.add(gdstk.Label('pad', (18.22,11.178), layer=68, texttype=16))
clamp_n36n3d.add(gdstk.Label('pad', (26.46,11.178), layer=68, texttype=16))
clamp_n36n3d.add(gdstk.Label('pad', (71.78,11.178), layer=68, texttype=16))
clamp_n36n3d.add(gdstk.Label('pad', (67.66,11.178), layer=68, texttype=16))
clamp_n36n3d.add(gdstk.Label('pad', (80.02,11.178), layer=68, texttype=16))
clamp_n36n3d.add(gdstk.Label('pad', (75.9,11.178), layer=68, texttype=16))
clamp_n36n3d.add(gdstk.Label('pad', (59.42,11.178), layer=68, texttype=16))
clamp_n36n3d.add(gdstk.Label('pad', (30.58,11.178), layer=68, texttype=16))
clamp_n36n3d.add(gdstk.Label('pad', (34.7,11.178), layer=68, texttype=16))
clamp_n36n3d.add(gdstk.Label('pad', (9.98,11.178), layer=68, texttype=16))
clamp_n36n3d.add(gdstk.Label('gate', (4.93,17.773), layer=68, texttype=16))

lib.write_gds('Clamp_N36N3D.gds')
